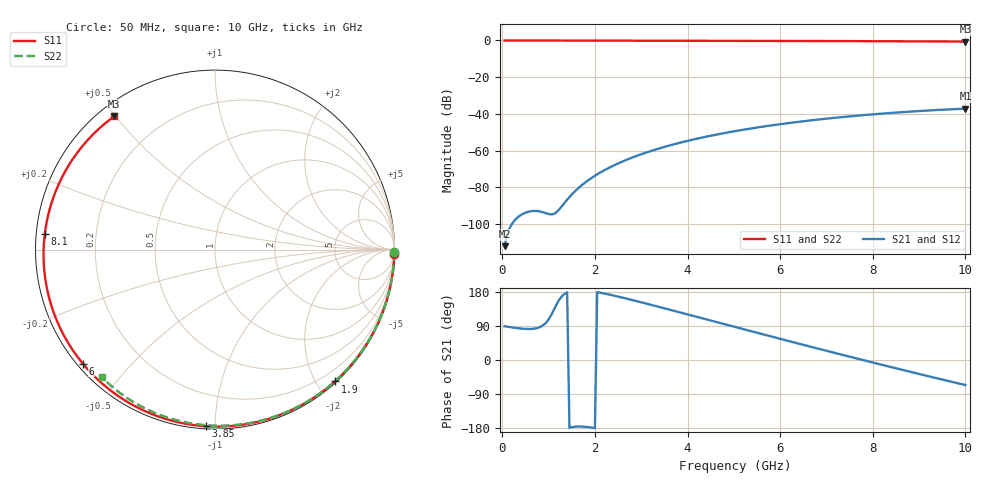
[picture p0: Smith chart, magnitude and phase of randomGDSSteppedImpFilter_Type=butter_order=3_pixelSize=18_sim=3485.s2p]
! freq	dB(S11)	phase(S11)	dB(S12)	phase(S12)
!  dB(S21)	phase(S21)	dB(S22)	phase(S22)
!S-par simulation data
#  GHz  S  DB  R 50
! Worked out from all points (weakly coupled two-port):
!   200 points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, 50 MHz to 10 GHz, reference 50 ohm
!   highest |S21| = -37.16 dB at 10 GHz (marker M1); lowest = -112.1 dB at 50 MHz (marker M2)
!   lowest |S11| = -0.6 dB at 10 GHz (marker M3), VSWR 27.97, Z = 2.23 + j24.9 ohm
!   |S11| at or under -10 dB: nowhere
!   |S22| runs from -0.4 to 0.0 dB; largest |S21 - S12| = 0
!   S11 on the Smith chart (normalised r, x): 50 MHz: 0, -89; 1.9 GHz: 0.02, -2.26; 3.85 GHz: 0.01, -0.95; 6 GHz: 0.02, -0.37; 8.1 GHz: 0.02, +0.05; 10 GHz: 0.04, +0.50
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0.05  -0.00 -1.3  -112.11 89.0  -112.11 89.0  -0.00 -0.8
0.8  -0.03 -20.4  -93.14 86.2  -93.14 86.2  -0.02 -12.1
1.2  -0.04 -30.4  -92.88 153.3  -92.88 153.3  -0.02 -18.1
1.65  -0.05 -41.6  -80.29 -175.5  -80.29 -175.5  -0.03 -24.7
1.75  -0.06 -44.0  -78.19 -175.9  -78.19 -175.9  -0.03 -26.2
1.9  -0.06 -47.7  -75.39 -177.9  -75.39 -177.9  -0.04 -28.4
2.2  -0.07 -54.9  -70.77 175.5  -70.77 175.5  -0.04 -32.8
2.55  -0.08 -63.3  -66.46 165.9  -66.46 165.9  -0.05 -37.8
2.95  -0.09 -72.6  -62.45 153.8  -62.45 153.8  -0.06 -43.6
3.4  -0.11 -82.9  -58.74 139.6  -58.74 139.6  -0.07 -49.9
3.85  -0.13 -93.0  -55.64 125.2  -55.64 125.2  -0.08 -56.1
4.45  -0.15 -106.2  -52.18 105.7  -52.18 105.7  -0.09 -64.3
5.05  -0.18 -119.1  -49.31 86.3  -49.31 86.3  -0.11 -72.2
6  -0.24 -139.3  -45.64 55.8  -45.64 55.8  -0.15 -84.4
6.7  -0.29 -154.2  -43.44 33.7  -43.44 33.7  -0.18 -93.1
7.4  -0.35 -169.4  -41.60 11.8  -41.60 11.8  -0.22 -101.5
8.1  -0.42 174.8  -40.06 -9.7  -40.06 -9.7  -0.27 -109.8
8.35  -0.45 169.0  -39.57 -17.3  -39.57 -17.3  -0.29 -112.7
8.75  -0.49 159.4  -38.86 -29.4  -38.86 -29.4  -0.32 -117.3
9.15  -0.53 149.5  -38.24 -41.3  -38.24 -41.3  -0.36 -121.8
9.55  -0.58 139.2  -37.69 -53.1  -37.69 -53.1  -0.40 -126.4
10  -0.62 127.1  -37.16 -66.1  -37.16 -66.1  -0.44 -131.4
